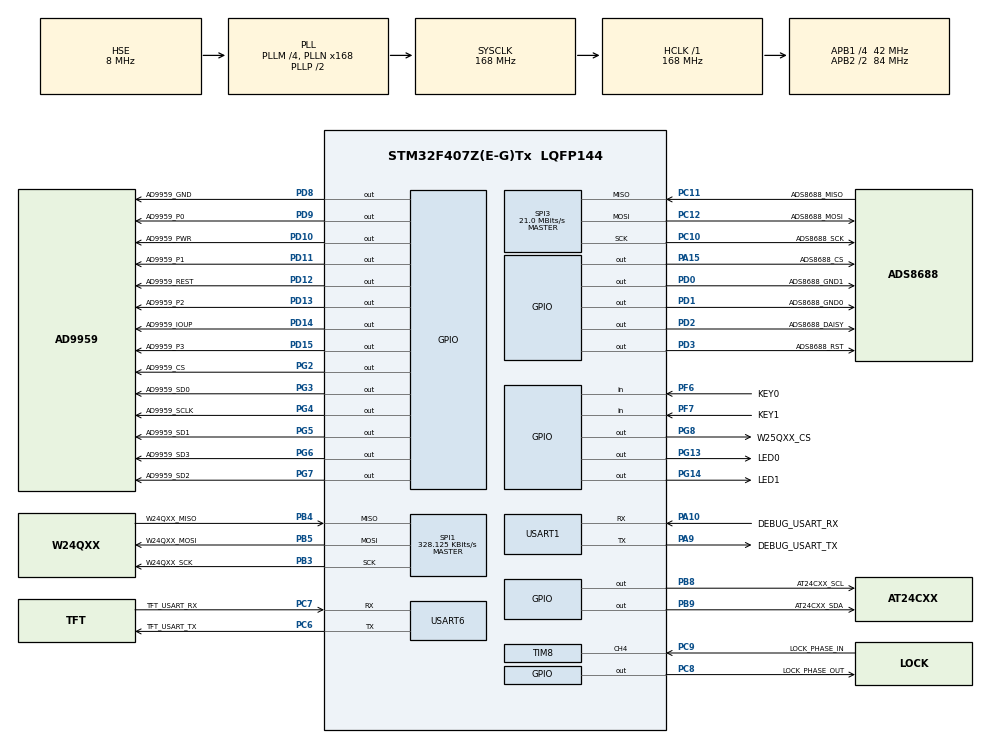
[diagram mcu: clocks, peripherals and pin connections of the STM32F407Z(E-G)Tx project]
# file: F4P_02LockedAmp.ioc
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Dma.Request0=SPI3_RX
Dma.Request1=SPI3_TX
Dma.Request2=USART6_TX
Dma.SPI3_RX.0.Direction=DMA_PERIPH_TO_MEMORY
Dma.SPI3_RX.0.FIFOMode=DMA_FIFOMODE_DISABLE
Dma.SPI3_RX.0.Instance=DMA1_Stream0
Dma.SPI3_RX.0.MemDataAlignment=DMA_MDATAALIGN_HALFWORD
Dma.SPI3_RX.0.MemInc=DMA_MINC_ENABLE
Dma.SPI3_RX.0.Mode=DMA_NORMAL
Dma.SPI3_RX.0.PeriphDataAlignment=DMA_PDATAALIGN_HALFWORD
Dma.SPI3_RX.0.PeriphInc=DMA_PINC_DISABLE
Dma.SPI3_RX.0.Priority=DMA_PRIORITY_LOW
Dma.SPI3_TX.1.Direction=DMA_MEMORY_TO_PERIPH
Dma.SPI3_TX.1.FIFOMode=DMA_FIFOMODE_DISABLE
Dma.SPI3_TX.1.Instance=DMA1_Stream5
Dma.SPI3_TX.1.MemDataAlignment=DMA_MDATAALIGN_HALFWORD
Dma.SPI3_TX.1.MemInc=DMA_MINC_ENABLE
Dma.SPI3_TX.1.Mode=DMA_NORMAL
Dma.SPI3_TX.1.PeriphDataAlignment=DMA_PDATAALIGN_HALFWORD
Dma.SPI3_TX.1.PeriphInc=DMA_PINC_DISABLE
Dma.SPI3_TX.1.Priority=DMA_PRIORITY_LOW
Dma.USART6_TX.2.Direction=DMA_MEMORY_TO_PERIPH
Dma.USART6_TX.2.FIFOMode=DMA_FIFOMODE_DISABLE
Dma.USART6_TX.2.Instance=DMA2_Stream6
Dma.USART6_TX.2.MemDataAlignment=DMA_MDATAALIGN_BYTE
Dma.USART6_TX.2.MemInc=DMA_MINC_ENABLE
Dma.USART6_TX.2.Mode=DMA_NORMAL
Dma.USART6_TX.2.PeriphDataAlignment=DMA_PDATAALIGN_BYTE
Dma.USART6_TX.2.PeriphInc=DMA_PINC_DISABLE
Dma.USART6_TX.2.Priority=DMA_PRIORITY_LOW
FREERTOS.CountingSemaphores01=TFT_RX_LED,10,Dynamic,NULL;TFT_TX_LED,10,Dynamic,NULL
FREERTOS.HEAP_NUMBER=5
FREERTOS.Queues01=USART6_RX,5,CTRL_MSG,0,Dynamic,NULL,NULL
FREERTOS.Tasks01=defaultTask,8,128,StartDefaultTask,Default,NULL,Dynamic,NULL,NULL;LED0_Toggle,48,128,StartLED0Toggle,As weak,NULL,Dynamic,NULL,NULL;LED1_Toggle,48,128,StartLED1Toggle,As weak,NULL,Dynamic,NULL,NULL;TFT_CMD_Process,40,128,TFT_CMD_Process_Start,As weak,NULL,Dynamic,NULL,NULL;FLASH_Data_Auto,24,128,FLASH_Data_AutoUpdate_Start,As weak,NULL,Dynamic,NULL,NULL;MainTask,39,1024,MainTask_Start,As weak,NULL,Dynamic,NULL,NULL
FREERTOS.configENABLE_FPU=1
FREERTOS.configTOTAL_HEAP_SIZE=0x6000
FREERTOS.configUSE_NEWLIB_REENTRANT=1
Mcu.Family=STM32F4
Mcu.Name=STM32F407Z(E-G)Tx
Mcu.Package=LQFP144
NVIC.DMA1_Stream0_IRQn=true\:5\:0\:true\:true\:true\:1\:false\:false\:true
NVIC.DMA1_Stream5_IRQn=true\:5\:0\:true\:true\:true\:2\:false\:false\:true
NVIC.DMA2_Stream6_IRQn=true\:5\:0\:true\:false\:true\:false\:false\:true
NVIC.PriorityGroup=NVIC_PRIORITYGROUP_4
NVIC.TIM1_UP_TIM10_IRQn=true\:3\:0\:true\:true\:true\:3\:false\:true\:true
NVIC.TIM2_IRQn=true\:2\:0\:true\:false\:true\:false\:true\:true
NVIC.TIM5_IRQn=true\:2\:0\:true\:false\:true\:false\:true\:true
NVIC.TIM6_DAC_IRQn=true\:15\:0\:false\:false\:true\:false\:false\:true
NVIC.TIM7_IRQn=true\:6\:0\:true\:false\:true\:false\:true\:true
NVIC.TIM8_CC_IRQn=true\:1\:0\:true\:false\:true\:false\:true\:true
NVIC.TIM8_TRG_COM_TIM14_IRQn=true\:2\:0\:true\:false\:true\:false\:true\:true
NVIC.TIM8_UP_TIM13_IRQn=true\:2\:0\:true\:false\:true\:false\:true\:true
NVIC.TimeBase=TIM6_DAC_IRQn
NVIC.TimeBaseIP=TIM6
NVIC.USART1_IRQn=true\:6\:0\:true\:true\:true\:4\:true\:true\:true
NVIC.USART6_IRQn=true\:5\:0\:false\:true\:true\:5\:true\:true\:true
PA10.GPIO_Label=DEBUG_USART_RX
PA10.Mode=Asynchronous
PA10.Signal=USART1_RX
PA13.Mode=Serial_Wire
PA13.Signal=SYS_JTMS-SWDIO
PA14.Mode=Serial_Wire
PA14.Signal=SYS_JTCK-SWCLK
PA15.GPIO_Label=ADS8688_CS
PA15.GPIO_PuPd=GPIO_PULLUP
PA15.GPIO_Speed=GPIO_SPEED_FREQ_VERY_HIGH
PA15.PinState=GPIO_PIN_SET
PA15.Signal=GPIO_Output
PA9.GPIO_Label=DEBUG_USART_TX
PA9.Mode=Asynchronous
PA9.Signal=USART1_TX
PB3.GPIO_Label=W24QXX_SCK
PB3.GPIO_PuPd=GPIO_PULLUP
PB3.GPIO_Speed=GPIO_SPEED_FREQ_VERY_HIGH
PB3.Mode=Full_Duplex_Master
PB3.Signal=SPI1_SCK
PB4.GPIO_Label=W24QXX_MISO
PB4.GPIO_PuPd=GPIO_PULLUP
PB4.GPIO_Speed=GPIO_SPEED_FREQ_VERY_HIGH
PB4.Mode=Full_Duplex_Master
PB4.Signal=SPI1_MISO
PB5.GPIO_Label=W24QXX_MOSI
PB5.GPIO_PuPd=GPIO_PULLUP
PB5.GPIO_Speed=GPIO_SPEED_FREQ_VERY_HIGH
PB5.Mode=Full_Duplex_Master
PB5.Signal=SPI1_MOSI
PB8.GPIO_Label=AT24CXX_SCL
PB8.GPIO_PuPd=GPIO_PULLUP
PB8.GPIO_Speed=GPIO_SPEED_FREQ_VERY_HIGH
PB8.Signal=GPIO_Output
PB9.GPIO_Label=AT24CXX_SDA
PB9.GPIO_PuPd=GPIO_PULLUP
PB9.GPIO_Speed=GPIO_SPEED_FREQ_VERY_HIGH
PB9.Signal=GPIO_Output
PC10.GPIO_Label=ADS8688_SCK
PC10.Mode=Full_Duplex_Master
PC10.Signal=SPI3_SCK
PC11.GPIO_Label=ADS8688_MISO
PC11.Mode=Full_Duplex_Master
PC11.Signal=SPI3_MISO
PC12.GPIO_Label=ADS8688_MOSI
PC12.Mode=Full_Duplex_Master
PC12.Signal=SPI3_MOSI
PC14-OSC32_IN.Mode=LSE-External-Oscillator
PC14-OSC32_IN.Signal=RCC_OSC32_IN
PC15-OSC32_OUT.Mode=LSE-External-Oscillator
PC15-OSC32_OUT.Signal=RCC_OSC32_OUT
PC6.GPIO_Label=TFT_USART_TX
PC6.Mode=Asynchronous
PC6.Signal=USART6_TX
PC7.GPIO_Label=TFT_USART_RX
PC7.Mode=Asynchronous
PC7.Signal=USART6_RX
PC8.GPIO_Label=LOCK_PHASE_OUT
PC8.GPIO_PuPd=GPIO_PULLDOWN
PC8.GPIO_Speed=GPIO_SPEED_FREQ_VERY_HIGH
PC8.Signal=GPIO_Output
PC9.GPIO_Label=LOCK_PHASE_IN
PC9.GPIO_ModeDefaultPP=GPIO_MODE_AF_PP
PC9.GPIO_PuPd=GPIO_PULLUP
PC9.GPIO_Speed=GPIO_SPEED_FREQ_VERY_HIGH
PC9.Signal=S_TIM8_CH4
PD0.GPIO_Label=ADS8688_GND1
PD0.GPIO_ModeDefaultOutputPP=GPIO_MODE_OUTPUT_PP
PD0.GPIO_PuPd=GPIO_PULLDOWN
PD0.GPIO_Speed=GPIO_SPEED_FREQ_LOW
PD0.PinState=GPIO_PIN_RESET
PD0.Signal=GPIO_Output
PD1.GPIO_Label=ADS8688_GND0
PD1.GPIO_ModeDefaultOutputPP=GPIO_MODE_OUTPUT_PP
PD1.GPIO_PuPd=GPIO_PULLDOWN
PD1.GPIO_Speed=GPIO_SPEED_FREQ_LOW
PD1.PinState=GPIO_PIN_RESET
PD1.Signal=GPIO_Output
PD10.GPIO_Label=AD9959_PWR
PD10.GPIO_Speed=GPIO_SPEED_FREQ_VERY_HIGH
PD10.Signal=GPIO_Output
PD11.GPIO_Label=AD9959_P1
PD11.GPIO_Speed=GPIO_SPEED_FREQ_VERY_HIGH
PD11.Signal=GPIO_Output
PD12.GPIO_Label=AD9959_REST
PD12.GPIO_Speed=GPIO_SPEED_FREQ_VERY_HIGH
PD12.Signal=GPIO_Output
PD13.GPIO_Label=AD9959_P2
PD13.GPIO_Speed=GPIO_SPEED_FREQ_VERY_HIGH
PD13.Signal=GPIO_Output
PD14.GPIO_Label=AD9959_IOUP
PD14.GPIO_Speed=GPIO_SPEED_FREQ_VERY_HIGH
PD14.Signal=GPIO_Output
PD15.GPIO_Label=AD9959_P3
PD15.GPIO_Speed=GPIO_SPEED_FREQ_VERY_HIGH
PD15.Signal=GPIO_Output
PD2.GPIO_Label=ADS8688_DAISY
PD2.GPIO_ModeDefaultOutputPP=GPIO_MODE_OUTPUT_PP
PD2.GPIO_PuPd=GPIO_PULLUP
PD2.GPIO_Speed=GPIO_SPEED_FREQ_LOW
PD2.PinState=GPIO_PIN_SET
PD2.Signal=GPIO_Output
PD3.GPIO_Label=ADS8688_RST
PD3.GPIO_ModeDefaultOutputPP=GPIO_MODE_OUTPUT_PP
PD3.GPIO_PuPd=GPIO_PULLUP
PD3.GPIO_Speed=GPIO_SPEED_FREQ_LOW
PD3.PinState=GPIO_PIN_SET
PD3.Signal=GPIO_Output
PD8.GPIO_Label=AD9959_GND
PD8.GPIO_Speed=GPIO_SPEED_FREQ_VERY_HIGH
PD8.Signal=GPIO_Output
PD9.GPIO_Label=AD9959_P0
PD9.GPIO_Speed=GPIO_SPEED_FREQ_VERY_HIGH
PD9.Signal=GPIO_Output
PF6.GPIO_Label=KEY0
PF6.GPIO_PuPd=GPIO_PULLUP
PF6.Signal=GPIO_Input
PF7.GPIO_Label=KEY1
PF7.GPIO_PuPd=GPIO_PULLUP
PF7.Signal=GPIO_Input
PG13.GPIO_Label=LED0
PG13.GPIO_ModeDefaultOutputPP=GPIO_MODE_OUTPUT_PP
PG13.GPIO_PuPd=GPIO_PULLUP
PG13.GPIO_Speed=GPIO_SPEED_FREQ_VERY_HIGH
PG13.PinState=GPIO_PIN_SET
PG13.Signal=GPIO_Output
PG14.GPIO_Label=LED1
PG14.GPIO_ModeDefaultOutputPP=GPIO_MODE_OUTPUT_PP
PG14.GPIO_PuPd=GPIO_PULLUP
PG14.GPIO_Speed=GPIO_SPEED_FREQ_VERY_HIGH
PG14.PinState=GPIO_PIN_SET
PG14.Signal=GPIO_Output
PG2.GPIO_Label=AD9959_CS
PG2.GPIO_Speed=GPIO_SPEED_FREQ_VERY_HIGH
PG2.Signal=GPIO_Output
PG3.GPIO_Label=AD9959_SD0
PG3.GPIO_Speed=GPIO_SPEED_FREQ_VERY_HIGH
PG3.Signal=GPIO_Output
PG4.GPIO_Label=AD9959_SCLK
PG4.GPIO_Speed=GPIO_SPEED_FREQ_VERY_HIGH
PG4.Signal=GPIO_Output
PG5.GPIO_Label=AD9959_SD1
PG5.GPIO_Speed=GPIO_SPEED_FREQ_VERY_HIGH
PG5.Signal=GPIO_Output
PG6.GPIO_Label=AD9959_SD3
PG6.GPIO_Speed=GPIO_SPEED_FREQ_VERY_HIGH
PG6.Signal=GPIO_Output
PG7.GPIO_Label=AD9959_SD2
PG7.GPIO_Speed=GPIO_SPEED_FREQ_VERY_HIGH
PG7.Signal=GPIO_Output
PG8.GPIO_Label=W25QXX_CS
PG8.GPIO_PuPd=GPIO_PULLUP
PG8.GPIO_Speed=GPIO_SPEED_FREQ_VERY_HIGH
PG8.PinState=GPIO_PIN_SET
PG8.Signal=GPIO_Output
PH0-OSC_IN.Mode=HSE-External-Oscillator
PH0-OSC_IN.Signal=RCC_OSC_IN
PH1-OSC_OUT.Mode=HSE-External-Oscillator
PH1-OSC_OUT.Signal=RCC_OSC_OUT
ProjectManager.HeapSize=0x200
ProjectManager.StackSize=0x400
ProjectManager.TargetToolchain=STM32CubeIDE
RCC.48MHZClocksFreq_Value=84000000
RCC.AHBFreq_Value=168000000
RCC.APB1CLKDivider=RCC_HCLK_DIV4
RCC.APB1Freq_Value=42000000
RCC.APB1TimFreq_Value=84000000
RCC.APB2CLKDivider=RCC_HCLK_DIV2
RCC.APB2Freq_Value=84000000
RCC.APB2TimFreq_Value=168000000
RCC.CortexFreq_Value=168000000
RCC.HCLKFreq_Value=168000000
RCC.HSE_VALUE=8000000
RCC.HSI_VALUE=16000000
RCC.PLLM=4
RCC.PLLN=168
RCC.PLLSourceVirtual=RCC_PLLSOURCE_HSE
RCC.SYSCLKFreq_VALUE=168000000
RCC.SYSCLKSource=RCC_SYSCLKSOURCE_PLLCLK
RCC.VCOOutputFreq_Value=336000000
SH.S_TIM8_CH4.0=TIM8_CH4,Input_Capture4_from_TI4
SPI1.BaudRatePrescaler=SPI_BAUDRATEPRESCALER_256
SPI1.CLKPhase=SPI_PHASE_2EDGE
SPI1.CLKPolarity=SPI_POLARITY_HIGH
SPI1.CalculateBaudRate=328.125 KBits/s
SPI1.Direction=SPI_DIRECTION_2LINES
SPI1.Mode=SPI_MODE_MASTER
SPI1.VirtualType=VM_MASTER
SPI3.BaudRatePrescaler=SPI_BAUDRATEPRESCALER_2
SPI3.CLKPhase=SPI_PHASE_2EDGE
SPI3.CalculateBaudRate=21.0 MBits/s
SPI3.DataSize=SPI_DATASIZE_16BIT
SPI3.Direction=SPI_DIRECTION_2LINES
SPI3.Mode=SPI_MODE_MASTER
SPI3.VirtualType=VM_MASTER
TIM1.Period=105-1
TIM1.Prescaler=25-1
TIM13.Period=3000
TIM14.Period=3000
TIM2.CounterMode=TIM_COUNTERMODE_DOWN
TIM5.CounterMode=TIM_COUNTERMODE_DOWN
TIM7.Period=1000-1
TIM7.Prescaler=84-1
TIM8.Channel-Input_Capture4_from_TI4=TIM_CHANNEL_4
TIM8.Period=0
TIM8.RepetitionCounter=256-1
USART1.VirtualMode=VM_ASYNC
USART6.VirtualMode=VM_ASYNC
VP_FREERTOS_VS_CMSIS_V2.Mode=CMSIS_V2
VP_SYS_VS_tim6.Mode=TIM6
VP_TIM13_VS_ClockSourceINT.Mode=Enable_Timer
VP_TIM13_VS_OPM.Mode=OPM_bit
VP_TIM14_VS_ClockSourceINT.Mode=Enable_Timer
VP_TIM14_VS_OPM.Mode=OPM_bit
VP_TIM1_VS_ClockSourceINT.Mode=Internal
VP_TIM2_VS_ClockSourceINT.Mode=Internal
VP_TIM2_VS_OPM.Mode=OPM_bit
VP_TIM5_VS_ClockSourceINT.Mode=Internal
VP_TIM5_VS_OPM.Mode=OPM_bit
VP_TIM7_VS_ClockSourceINT.Mode=Enable_Timer
VP_TIM8_VS_ClockSourceINT.Mode=Internal
board=custom

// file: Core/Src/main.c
/* USER CODE BEGIN Header */
/**
  ******************************************************************************
  * @file           : main.c
  * @brief          : Main program body
  ******************************************************************************
  * @attention
  *
  * <h2><center>&copy; Copyright (c) 2021 STMicroelectronics.
  * All rights reserved.</center></h2>
  *
  * This software component is licensed by ST under BSD 3-Clause license,
  * the "License"; You may not use this file except in compliance with the
  * License. You may obtain a copy of the License at:
  *                        opensource.org/licenses/BSD-3-Clause
  *
  ******************************************************************************
  */
/* USER CODE END Header */
#include "main.h"
#include "cmsis_os.h"
#include "dma.h"
#include "spi.h"
#include "tim.h"
#include "usart.h"
#include "gpio.h"

/* USER CODE BEGIN Includes */
#include "data.h"
#include "w25qxx.h"
#include "24cxx.h"
#include "output.h"
#include "portmacro.h"
#include "hmi_user_uart.h"
#include "AD9959.h"
/* USER CODE END Includes */

void SystemClock_Config(void);
void MX_FREERTOS_Init(void);
static void MX_NVIC_Init(void);

int main(void)
{
  /* USER CODE BEGIN 1 */
	extern u8 ucHeap[];
  /* USER CODE END 1 */

  /* MCU Configuration--------------------------------------------------------*/

  /* Reset of all peripherals, Initializes the Flash interface and the Systick. */
  HAL_Init();

  /* Configure the system clock */
  SystemClock_Config();

  /* Initialize all configured peripherals */
  MX_GPIO_Init();
  MX_DMA_Init();
  MX_SPI1_Init();
  MX_SPI3_Init();
  MX_TIM1_Init();
  MX_USART1_UART_Init();
  MX_USART6_UART_Init();
  MX_TIM7_Init();
  MX_TIM8_Init();
  MX_TIM2_Init();
  MX_TIM5_Init();
  MX_TIM13_Init();
  MX_TIM14_Init();

  /* Initialize interrupts */
  MX_NVIC_Init();
  /* USER CODE BEGIN 2 */
  delay_init(168);
  AT24CXX_Init();      //AT24C02-EEPROM-初始化
  W25QXX_Init();       //W25Q128-FLASH -初始化
  Init_AD9959();       //AD9959-DDS    -初始化
  TFT_Init();          //TFT-串口屏    -初始化
//  ESP8266_Init();      //ESP8266-WIFI  -初始化
  DATA_INIT();
  __HAL_TIM_ENABLE_IT(&htim2 , TIM_IT_UPDATE);
  __HAL_TIM_ENABLE_IT(&htim5 , TIM_IT_UPDATE);
  __HAL_TIM_ENABLE_IT(&htim13, TIM_IT_UPDATE);
  __HAL_TIM_ENABLE_IT(&htim14, TIM_IT_UPDATE);
  HAL_TIM_IC_Start_IT(&htim8 , TIM_CHANNEL_4);
  ucHeap[0] = 0;       //显示出 ucHeap 在 CCMRAM 的占用
  /* USER CODE END 2 */

  /* Init scheduler */
  osKernelInitialize();  /* Call init function for freertos objects (in freertos.c) */
  MX_FREERTOS_Init();
  /* Start scheduler */
  osKernelStart();

  /* We should never get here as control is now taken by the scheduler */
  /* Infinite loop */
  while (1)
  {

  }
}

void SystemClock_Config(void)
{
  RCC_OscInitTypeDef RCC_OscInitStruct = {0};
  RCC_ClkInitTypeDef RCC_ClkInitStruct = {0};

  /** Configure the main internal regulator output voltage
  */
  __HAL_RCC_PWR_CLK_ENABLE();
  __HAL_PWR_VOLTAGESCALING_CONFIG(PWR_REGULATOR_VOLTAGE_SCALE1);
  /** Initializes the RCC Oscillators according to the specified parameters
  * in the RCC_OscInitTypeDef structure.
  */
  RCC_OscInitStruct.OscillatorType = RCC_OSCILLATORTYPE_HSE;
  RCC_OscInitStruct.HSEState = RCC_HSE_ON;
  RCC_OscInitStruct.PLL.PLLState = RCC_PLL_ON;
  RCC_OscInitStruct.PLL.PLLSource = RCC_PLLSOURCE_HSE;
  RCC_OscInitStruct.PLL.PLLM = 4;
  RCC_OscInitStruct.PLL.PLLN = 168;
  RCC_OscInitStruct.PLL.PLLP = RCC_PLLP_DIV2;
  RCC_OscInitStruct.PLL.PLLQ = 4;
  if (HAL_RCC_OscConfig(&RCC_OscInitStruct) != HAL_OK)
  {
    Error_Handler();
  }
  /** Initializes the CPU, AHB and APB buses clocks
  */
  RCC_ClkInitStruct.ClockType = RCC_CLOCKTYPE_HCLK|RCC_CLOCKTYPE_SYSCLK
                              |RCC_CLOCKTYPE_PCLK1|RCC_CLOCKTYPE_PCLK2;
  RCC_ClkInitStruct.SYSCLKSource = RCC_SYSCLKSOURCE_PLLCLK;
  RCC_ClkInitStruct.AHBCLKDivider = RCC_SYSCLK_DIV1;
  RCC_ClkInitStruct.APB1CLKDivider = RCC_HCLK_DIV4;
  RCC_ClkInitStruct.APB2CLKDivider = RCC_HCLK_DIV2;

  if (HAL_RCC_ClockConfig(&RCC_ClkInitStruct, FLASH_LATENCY_5) != HAL_OK)
  {
    Error_Handler();
  }
}

/**
  * @brief NVIC Configuration.
  * @retval None
  */
static void MX_NVIC_Init(void)
{
  /* DMA1_Stream0_IRQn interrupt configuration */
  HAL_NVIC_SetPriority(DMA1_Stream0_IRQn, 5, 0);
  HAL_NVIC_EnableIRQ(DMA1_Stream0_IRQn);
  /* DMA1_Stream5_IRQn interrupt configuration */
  HAL_NVIC_SetPriority(DMA1_Stream5_IRQn, 5, 0);
  HAL_NVIC_EnableIRQ(DMA1_Stream5_IRQn);
  /* TIM1_UP_TIM10_IRQn interrupt configuration */
  HAL_NVIC_SetPriority(TIM1_UP_TIM10_IRQn, 3, 0);
  HAL_NVIC_EnableIRQ(TIM1_UP_TIM10_IRQn);
  /* USART1_IRQn interrupt configuration */
  HAL_NVIC_SetPriority(USART1_IRQn, 6, 0);
  HAL_NVIC_EnableIRQ(USART1_IRQn);
  /* USART6_IRQn interrupt configuration */
  HAL_NVIC_SetPriority(USART6_IRQn, 5, 0);
  HAL_NVIC_EnableIRQ(USART6_IRQn);
}

/* USER CODE BEGIN 4 */

#ifdef USE_THIS
/* USER CODE END 4 */

void HAL_TIM_PeriodElapsedCallback(TIM_HandleTypeDef *htim)
{
  if (htim->Instance == TIM6) {
    HAL_IncTick();
  }
  /* USER CODE BEGIN Callback 1 */
#endif
__weak void meanless(void){
  /* USER CODE END Callback 1 */
}

void Error_Handler(void)
{
  /* USER CODE BEGIN Error_Handler_Debug */
  /* User can add his own implementation to report the HAL error return state */
  __disable_irq();
  LED0_ON;
  LED1_ON;
  while (1)
  {
  }
  /* USER CODE END Error_Handler_Debug */
}

/************************ (C) COPYRIGHT STMicroelectronics *****END OF FILE****/
